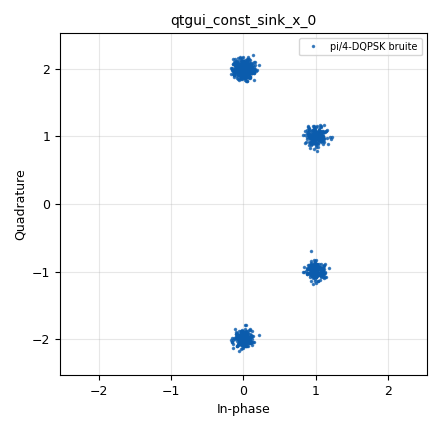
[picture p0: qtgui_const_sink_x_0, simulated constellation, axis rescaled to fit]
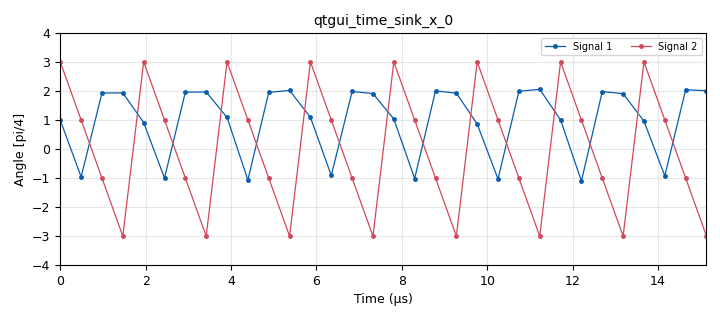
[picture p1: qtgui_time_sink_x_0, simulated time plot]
options:
  parameters:
    author: mahmoud addouche
    generate_options: qt_gui
    id: OFDM_wav_TS_step_03_04_D
    output_language: python
    title: OFDM_wav_TS_step_03_04_D
  states: {}

blocks:
- name: my_const_1
  id: variable_constellation
  parameters:
    const_points: '[-1-1j, -1+1j, 1+1j, 1-1j]'
    dims: '1'
    normalization: digital.constellation.NO_NORMALIZATION
    precision: '8'
    rot_sym: '4'
    sym_map: '[0, 1, 3, 2]'
    type: calcdist
  states: {}
- name: my_const_2
  id: variable_constellation
  parameters:
    const_points: '[-1-1j, -1+1j, 1+1j, 1-1j]'
    dims: '1'
    normalization: digital.constellation.NO_NORMALIZATION
    precision: '8'
    rot_sym: '4'
    sym_map: '[0, 1, 3, 2]'
    type: calcdist
  states: {}
- name: noise_volt
  id: variable_qtgui_range
  parameters:
    label: noise_volt
    start: '0'
    step: '0.001'
    stop: '2'
    value: '0.1'
  states: {}
- name: samp_rate
  id: variable
  parameters:
    value: '2048000'
  states: {}
- name: subCarr_K
  id: variable
  parameters:
    value: '4'
  states: {}
- name: analog_const_source_x_0
  id: analog_const_source_x
  parameters:
    const: 0.707106781+0.707106781j
    type: complex
  states: {}
- name: blocks_complex_to_arg_0
  id: blocks_complex_to_arg
  parameters: {}
  states: {}
- name: blocks_complex_to_arg_0_0
  id: blocks_complex_to_arg
  parameters: {}
  states: {}
- name: blocks_delay_0
  id: blocks_delay
  parameters:
    delay: '1'
    type: complex
  states: {}
- name: blocks_multiply_const_vxx_0
  id: blocks_multiply_const_vxx
  parameters:
    const: 0.707106781+0.707106781j
    type: complex
  states: {}
- name: blocks_multiply_const_vxx_1
  id: blocks_multiply_const_vxx
  parameters:
    comment: Normalise en unites de pi/4
    const: '1.27324'
    type: float
  states: {}
- name: blocks_multiply_const_vxx_2
  id: blocks_multiply_const_vxx
  parameters:
    const: '1.27324'
    type: float
  states: {}
- name: blocks_multiply_xx_0
  id: blocks_multiply_xx
  parameters:
    type: complex
  states: {}
- name: blocks_null_sink_0
  id: blocks_null_sink
  parameters:
    type: complex
  states: {}
- name: blocks_stream_demux_0
  id: blocks_stream_demux
  parameters:
    lengths: (1, 4)
    type: complex
  states: {}
- name: blocks_stream_mux_0
  id: blocks_stream_mux
  parameters:
    lengths: (1, 4)
    type: complex
  states: {}
- name: blocks_stream_to_tagged_stream_0
  id: blocks_stream_to_tagged_stream
  parameters:
    len_tag_key: packet_len
    packet_len: '4'
    type: complex
  states: {}
- name: blocks_throttle2_0
  id: blocks_throttle2
  parameters:
    samples_per_second: samp_rate
    type: byte
  states: {}
- name: blocks_vector_source_x_0
  id: blocks_vector_source_x
  parameters:
    comment: Séquence fixe [00,01,10,11]
    repeat: 'True'
    type: byte
    vector: '[0, 1, 2, 3]'
  states: {}
- name: blocks_vector_source_x_0_0
  id: blocks_vector_source_x
  parameters:
    repeat: 'True'
    type: byte
    vector: '[0, 1, 2, 3]'
  states: {}
- name: channels_channel_model_0
  id: channels_channel_model
  parameters:
    comment: Canal AWGN modulable
    epsilon: '1.0'
    freq_offset: '0.0'
    noise_voltage: noise_volt
    seed: '0'
    taps: '1'
  states: {}
- name: digital_constellation_encoder_bc_0
  id: digital_constellation_encoder_bc
  parameters:
    constellation: my_const_1
  states: {}
- name: digital_constellation_encoder_bc_0_0
  id: digital_constellation_encoder_bc
  parameters:
    constellation: my_const_2
  states: {}
- name: import_math
  id: import
  parameters:
    imports: import math
  states: {}
- name: qtgui_const_sink_x_0
  id: qtgui_const_sink_x
  parameters:
    label1: pi/4-DQPSK bruite
    size: '1024'
    style1: '1'
    type: complex
  states: {}
- name: qtgui_time_sink_x_0
  id: qtgui_time_sink_x
  parameters:
    ctrlpanel: 'True'
    grid: 'True'
    marker1: '1'
    marker2: '1'
    nconnections: '2'
    size: '32'
    srate: samp_rate
    tr_mode: qtgui.TRIG_MODE_TAG
    tr_tag: '"packet_len"'
    type: float
    ylabel: Angle [pi/4]
    ymax: '4'
    ymin: '-4'
  states: {}

connections:
- [analog_const_source_x_0, '0', blocks_stream_mux_0, '0']
- [blocks_complex_to_arg_0, '0', blocks_multiply_const_vxx_1, '0']
- [blocks_complex_to_arg_0_0, '0', blocks_multiply_const_vxx_2, '0']
- [blocks_delay_0, '0', blocks_multiply_xx_0, '1']
- [blocks_multiply_const_vxx_0, '0', blocks_stream_mux_0, '1']
- [blocks_multiply_const_vxx_1, '0', qtgui_time_sink_x_0, '0']
- [blocks_multiply_const_vxx_2, '0', qtgui_time_sink_x_0, '1']
- [blocks_multiply_xx_0, '0', channels_channel_model_0, '0']
- [blocks_stream_demux_0, '0', blocks_null_sink_0, '0']
- [blocks_stream_demux_0, '1', blocks_complex_to_arg_0, '0']
- [blocks_stream_mux_0, '0', blocks_delay_0, '0']
- [blocks_stream_mux_0, '0', blocks_multiply_xx_0, '0']
- [blocks_stream_to_tagged_stream_0, '0', blocks_multiply_const_vxx_0, '0']
- [blocks_throttle2_0, '0', digital_constellation_encoder_bc_0, '0']
- [blocks_vector_source_x_0, '0', blocks_throttle2_0, '0']
- [blocks_vector_source_x_0_0, '0', digital_constellation_encoder_bc_0_0, '0']
- [channels_channel_model_0, '0', blocks_stream_demux_0, '0']
- [channels_channel_model_0, '0', qtgui_const_sink_x_0, '0']
- [digital_constellation_encoder_bc_0, '0', blocks_stream_to_tagged_stream_0, '0']
- [digital_constellation_encoder_bc_0_0, '0', blocks_complex_to_arg_0_0, '0']

metadata:
  file_format: 1
  grc_version: 3.10.9.2
